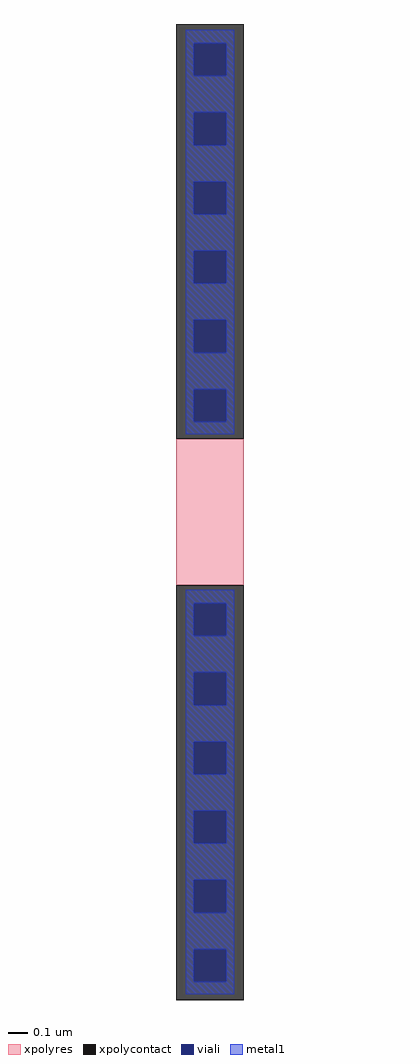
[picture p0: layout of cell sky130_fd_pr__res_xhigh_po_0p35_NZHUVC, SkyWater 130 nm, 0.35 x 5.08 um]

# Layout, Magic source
magic
tech sky130A
magscale 1 2
<< xpolycontact >>
rect -35 76 35 508
rect -35 -508 35 -76
<< xpolyres >>
rect -35 -76 35 76
<< viali >>
rect -17 454 17 488
rect -17 382 17 416
rect -17 310 17 344
rect -17 238 17 272
rect -17 166 17 200
rect -17 94 17 128
rect -17 -129 17 -95
rect -17 -201 17 -167
rect -17 -273 17 -239
rect -17 -345 17 -311
rect -17 -417 17 -383
rect -17 -489 17 -455
<< metal1 >>
rect -25 488 25 502
rect -25 454 -17 488
rect 17 454 25 488
rect -25 416 25 454
rect -25 382 -17 416
rect 17 382 25 416
rect -25 344 25 382
rect -25 310 -17 344
rect 17 310 25 344
rect -25 272 25 310
rect -25 238 -17 272
rect 17 238 25 272
rect -25 200 25 238
rect -25 166 -17 200
rect 17 166 25 200
rect -25 128 25 166
rect -25 94 -17 128
rect 17 94 25 128
rect -25 81 25 94
rect -25 -95 25 -81
rect -25 -129 -17 -95
rect 17 -129 25 -95
rect -25 -167 25 -129
rect -25 -201 -17 -167
rect 17 -201 25 -167
rect -25 -239 25 -201
rect -25 -273 -17 -239
rect 17 -273 25 -239
rect -25 -311 25 -273
rect -25 -345 -17 -311
rect 17 -345 25 -311
rect -25 -383 25 -345
rect -25 -417 -17 -383
rect 17 -417 25 -383
rect -25 -455 25 -417
rect -25 -489 -17 -455
rect 17 -489 25 -455
rect -25 -502 25 -489
<< end >>
